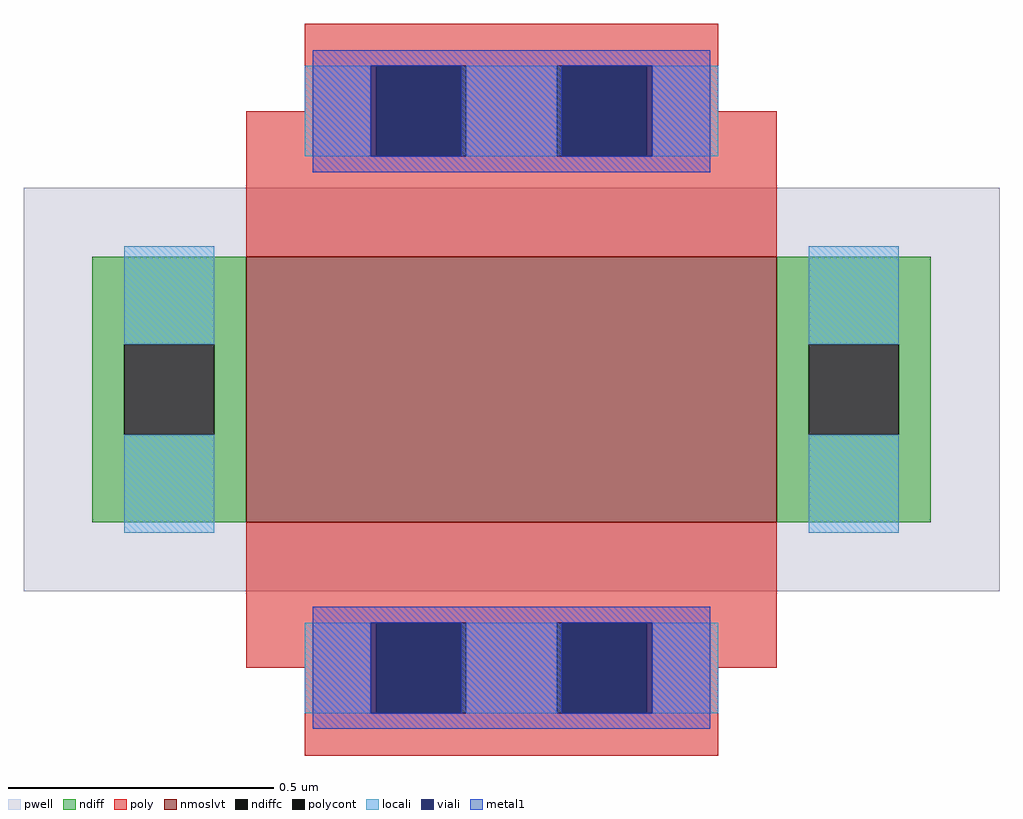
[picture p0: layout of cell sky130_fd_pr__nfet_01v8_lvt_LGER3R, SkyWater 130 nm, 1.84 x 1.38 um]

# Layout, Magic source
magic
tech sky130A
magscale 1 2
<< pwell >>
rect -184 -76 184 76
<< nmoslvt >>
rect -100 -50 100 50
<< ndiff >>
rect -158 17 -100 50
rect -158 -17 -146 17
rect -112 -17 -100 17
rect -158 -50 -100 -17
rect 100 17 158 50
rect 100 -17 112 17
rect 146 -17 158 17
rect 100 -50 158 -17
<< ndiffc >>
rect -146 -17 -112 17
rect 112 -17 146 17
<< poly >>
rect -78 122 78 138
rect -78 105 -51 122
rect -100 88 -51 105
rect -17 88 17 122
rect 51 105 78 122
rect 51 88 100 105
rect -100 50 100 88
rect -100 -88 100 -50
rect -100 -105 -51 -88
rect -78 -122 -51 -105
rect -17 -122 17 -88
rect 51 -105 100 -88
rect 51 -122 78 -105
rect -78 -138 78 -122
<< polycont >>
rect -51 88 -17 122
rect 17 88 51 122
rect -51 -122 -17 -88
rect 17 -122 51 -88
<< locali >>
rect -78 88 -53 122
rect -17 88 17 122
rect 53 88 78 122
rect -146 17 -112 54
rect -146 -54 -112 -17
rect 112 17 146 54
rect 112 -54 146 -17
rect -78 -122 -53 -88
rect -17 -122 17 -88
rect 53 -122 78 -88
<< viali >>
rect -53 88 -51 122
rect -51 88 -19 122
rect 19 88 51 122
rect 51 88 53 122
rect -53 -122 -51 -88
rect -51 -122 -19 -88
rect 19 -122 51 -88
rect 51 -122 53 -88
<< metal1 >>
rect -75 122 75 128
rect -75 88 -53 122
rect -19 88 19 122
rect 53 88 75 122
rect -75 82 75 88
rect -75 -88 75 -82
rect -75 -122 -53 -88
rect -19 -122 19 -88
rect 53 -122 75 -88
rect -75 -128 75 -122
<< end >>
